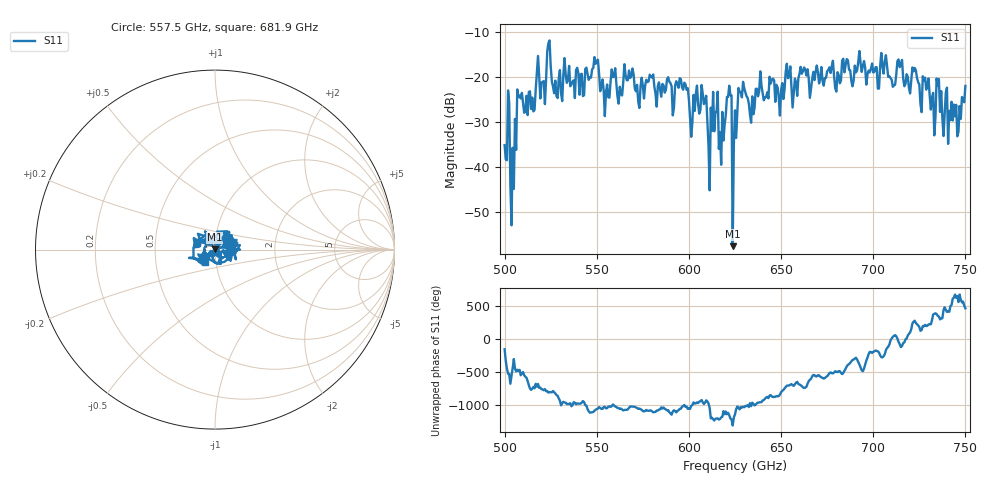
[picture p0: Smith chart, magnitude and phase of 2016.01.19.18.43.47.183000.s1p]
!Created with skrf (http://scikit-rf.org).
# GHz S RI R 50.0
!freq ReS11 ImS11
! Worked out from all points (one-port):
!   401 points, 500 GHz to 750 GHz, reference 50 ohm
!   lowest |S11| = -57.5 dB at 623.8 GHz (marker M1), VSWR 1.00, Z = 49.9 + j0.111 ohm
!   |S11| at or under -10 dB: start of sweep to end of sweep
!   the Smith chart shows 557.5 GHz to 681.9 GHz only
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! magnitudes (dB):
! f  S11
! 500 GHz  -35.1
! 501.2 GHz  -38.4
! 504.4 GHz  -35.6
! 508.1 GHz  -24.1
! 515.6 GHz  -27.6
! 523.8 GHz  -12.5
! 527.5 GHz  -20.8
! 531.2 GHz  -25.3
! 549.4 GHz  -17.0
! 553.1 GHz  -20.5
! 562.5 GHz  -22.1
! 593.8 GHz  -21.6
! 601.9 GHz  -29.9
! 608.1 GHz  -26.0
! 611.2 GHz  -45.1
! 614.4 GHz  -27.7
! 617.5 GHz  -39.4
! 621.9 GHz  -21.9
! 623.8 GHz  -57.5
! 625 GHz  -27.3
! 628.1 GHz  -23.4
! 634.4 GHz  -24.2
! 656.2 GHz  -26.7
! 687.5 GHz  -18.5
! 718.8 GHz  -19.9
! 735.6 GHz  -20.4
! 741.9 GHz  -29.5
! 750 GHz  -21.9
